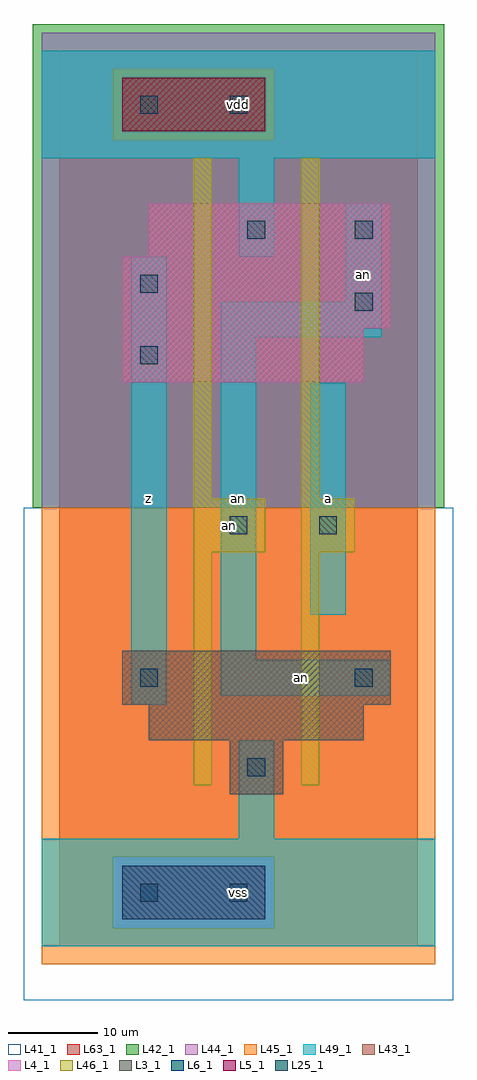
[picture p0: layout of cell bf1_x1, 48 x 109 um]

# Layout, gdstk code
import gdstk
lib = gdstk.Library(unit=1e-6, precision=1e-09)
def R(c, l, rs):  # rectangles x0, y0, x1, y1
    for r in rs: c.add(gdstk.rectangle(r[:2], r[2:], *l))
L3_1 = (3, 1)
L4_1 = (4, 1)
L5_1 = (5, 1)
L6_1 = (6, 1)
L25_1 = (25, 1)
L41_1 = (41, 1)
L42_1 = (42, 1)
L43_1 = (43, 1)
L44_1 = (44, 1)
L45_1 = (45, 1)
L46_1 = (46, 1)
L49_1 = (49, 1)
L63_1 = (63, 1)

bf1_x1 = lib.new_cell('bf1_x1')
R(bf1_x1, L3_1, [(19,17,25,23), (10,23,34,27), (7,27,37,33)])
R(bf1_x1, L4_1, [(7,63,34,69), (7,69,37,77), (10,77,37,83)])
R(bf1_x1, L5_1, [(7,91,23,97)])
R(bf1_x1, L6_1, [(7,3,23,9)])
R(bf1_x1, L25_1, [(9,5,11,7), (19,5,21,7), (21,19,23,21), (9,29,11,31), (33,29,35,31), (19,46,21,48), (29,46,31,48), (9,65,11,67), (33,71,35,73), (9,73,11,75), (21,79,23,81), (33,79,35,81), (9,93,11,95), (19,93,21,95)])
R(bf1_x1, L41_1, [(-4,-6,44,49), (-3,-3,43,49)])
R(bf1_x1, L42_1, [(-3,49,43,103)])
R(bf1_x1, L43_1, [(7,3,23,9), (19,17,25,23), (10,23,34,27), (7,27,37,33), (7,63,34,69), (7,69,37,77), (10,77,37,83), (7,91,23,97)])
R(bf1_x1, L44_1, [(6,2,24,10), (-2,49,42,90), (-2,90,6,98), (24,90,42,98), (-2,98,42,102)])
R(bf1_x1, L45_1, [(-2,-2,42,2), (-2,2,6,10), (24,2,42,10), (-2,10,42,49), (6,90,24,98)])
R(bf1_x1, L46_1, [(15,18,17,44), (27,18,29,44), (15,44,23,50), (27,44,33,50), (15,50,17,88), (27,50,29,88)])
R(bf1_x1, L49_1, [(-2,0,42,12), (20,12,24,23), (8,27,12,77), (18,28,37,32), (18,32,22,68), (28,37,32,63), (18,68,36,72), (32,72,36,83), (20,77,24,88), (-2,88,42,100)])
R(bf1_x1, L63_1, [(0,0,40,100)])
bf1_x1.add(gdstk.Label('an', (19,47), layer=49, texttype=1))
bf1_x1.add(gdstk.Label('z', (10,50), layer=49, texttype=1))
bf1_x1.add(gdstk.Label('z', (10,50), layer=49, texttype=1))
bf1_x1.add(gdstk.Label('vss', (20,6), layer=49, texttype=1))
bf1_x1.add(gdstk.Label('vss', (20,6), layer=49, texttype=1))
bf1_x1.add(gdstk.Label('an', (20,50), layer=49, texttype=1))
bf1_x1.add(gdstk.Label('vdd', (20,94), layer=49, texttype=1))
bf1_x1.add(gdstk.Label('vdd', (20,94), layer=49, texttype=1))
bf1_x1.add(gdstk.Label('an', (27,30), layer=49, texttype=1))
bf1_x1.add(gdstk.Label('a', (30,50), layer=49, texttype=1))
bf1_x1.add(gdstk.Label('a', (30,50), layer=49, texttype=1))
bf1_x1.add(gdstk.Label('an', (34,75), layer=49, texttype=1))

lib.write_gds('bf1_x1.gds')
